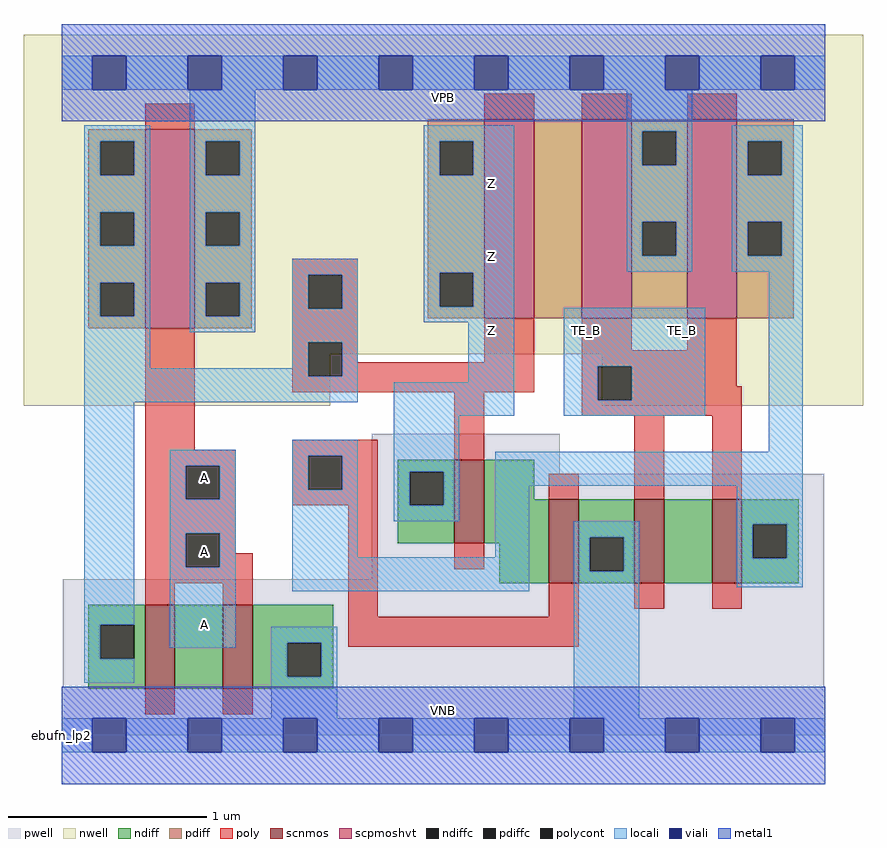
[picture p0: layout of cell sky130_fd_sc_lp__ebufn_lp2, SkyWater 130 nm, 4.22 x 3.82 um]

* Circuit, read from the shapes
.subckt sky130_fd_sc_lp__ebufn_lp2 A TE_B VGND VNB VPB VPWR Z
XM1 n1 A n2 VNB sky130_fd_pr__nfet_01v8 w=0.42 l=0.15
XM2 VGND A n1 VNB sky130_fd_pr__nfet_01v8 w=0.42 l=0.15
XM3 n3 n2 Z VNB sky130_fd_pr__nfet_01v8 w=0.42 l=0.15
XM4 VGND n4 n3 VNB sky130_fd_pr__nfet_01v8 w=0.42 l=0.15
XM5 n5 TE_B VGND VNB sky130_fd_pr__nfet_01v8 w=0.42 l=0.15
XM6 n4 TE_B n5 VNB sky130_fd_pr__nfet_01v8 w=0.42 l=0.15
XM7 VPWR A n2 VPB sky130_fd_pr__pfet_01v8_hvt w=1 l=0.25
XM8 n6 n2 Z VPB sky130_fd_pr__pfet_01v8_hvt w=1 l=0.25
XM9 VPWR TE_B n6 VPB sky130_fd_pr__pfet_01v8_hvt w=1 l=0.25
XM10 n4 TE_B VPWR VPB sky130_fd_pr__pfet_01v8_hvt w=1 l=0.25
.ends

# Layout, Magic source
magic
tech sky130A
magscale 1 2
<< nwell >>
rect -38 383 806 704
rect -38 331 270 383
rect 543 331 806 383
<< pwell >>
rect 312 263 501 303
rect 312 157 767 263
rect 1 49 767 157
rect 0 0 768 49
<< scnmos >>
rect 84 47 114 131
rect 162 47 192 131
rect 395 193 425 277
rect 490 153 520 237
rect 576 153 606 237
rect 654 153 684 237
<< scpmoshvt >>
rect 84 409 134 609
rect 425 419 475 619
rect 523 419 573 619
rect 629 419 679 619
<< ndiff >>
rect 27 111 84 131
rect 27 77 39 111
rect 73 77 84 111
rect 27 47 84 77
rect 114 47 162 131
rect 192 93 273 131
rect 192 59 227 93
rect 261 59 273 93
rect 338 265 395 277
rect 338 231 350 265
rect 384 231 395 265
rect 338 193 395 231
rect 425 237 475 277
rect 425 193 490 237
rect 440 153 490 193
rect 520 199 576 237
rect 520 165 531 199
rect 565 165 576 199
rect 520 153 576 165
rect 606 153 654 237
rect 684 212 741 237
rect 684 178 695 212
rect 729 178 741 212
rect 684 153 741 178
rect 192 47 273 59
<< pdiff >>
rect 27 597 84 609
rect 27 563 39 597
rect 73 563 84 597
rect 27 526 84 563
rect 27 492 39 526
rect 73 492 84 526
rect 27 455 84 492
rect 27 421 39 455
rect 73 421 84 455
rect 27 409 84 421
rect 134 597 191 609
rect 134 563 145 597
rect 179 563 191 597
rect 134 526 191 563
rect 134 492 145 526
rect 179 492 191 526
rect 134 455 191 492
rect 368 597 425 619
rect 368 563 380 597
rect 414 563 425 597
rect 134 421 145 455
rect 179 421 191 455
rect 134 409 191 421
rect 368 465 425 563
rect 368 431 380 465
rect 414 431 425 465
rect 368 419 425 431
rect 475 419 523 619
rect 573 607 629 619
rect 573 573 584 607
rect 618 573 629 607
rect 573 516 629 573
rect 573 482 584 516
rect 618 482 629 516
rect 573 419 629 482
rect 679 597 736 619
rect 679 563 690 597
rect 724 563 736 597
rect 679 516 736 563
rect 679 482 690 516
rect 724 482 736 516
rect 679 419 736 482
<< ndiffc >>
rect 39 77 73 111
rect 227 59 261 93
rect 350 231 384 265
rect 531 165 565 199
rect 695 178 729 212
<< pdiffc >>
rect 39 563 73 597
rect 39 492 73 526
rect 39 421 73 455
rect 145 563 179 597
rect 145 492 179 526
rect 380 563 414 597
rect 145 421 179 455
rect 380 431 414 465
rect 584 573 618 607
rect 584 482 618 516
rect 690 563 724 597
rect 690 482 724 516
<< poly >>
rect 84 609 134 635
rect 425 619 475 645
rect 523 619 573 645
rect 629 619 679 645
rect 232 463 298 479
rect 232 429 248 463
rect 282 429 298 463
rect 84 287 134 409
rect 232 395 298 429
rect 232 361 248 395
rect 282 375 298 395
rect 425 375 475 419
rect 282 361 475 375
rect 232 345 475 361
rect 523 387 573 419
rect 629 387 679 419
rect 523 371 679 387
rect 84 271 175 287
rect 84 237 125 271
rect 159 237 175 271
rect 84 203 175 237
rect 232 281 318 297
rect 232 247 248 281
rect 282 247 318 281
rect 395 277 425 345
rect 523 337 539 371
rect 573 351 679 371
rect 573 337 684 351
rect 523 321 684 337
rect 232 231 318 247
rect 84 169 125 203
rect 159 183 175 203
rect 159 169 192 183
rect 84 153 192 169
rect 84 131 114 153
rect 162 131 192 153
rect 288 119 318 231
rect 490 237 520 263
rect 576 237 606 321
rect 654 237 684 321
rect 395 167 425 193
rect 490 119 520 153
rect 576 127 606 153
rect 654 127 684 153
rect 288 89 520 119
rect 84 21 114 47
rect 162 21 192 47
<< polycont >>
rect 248 429 282 463
rect 248 361 282 395
rect 125 237 159 271
rect 248 247 282 281
rect 539 337 573 371
rect 125 169 159 203
<< locali >>
rect 0 649 31 683
rect 65 649 127 683
rect 161 649 223 683
rect 257 649 319 683
rect 353 649 415 683
rect 449 649 511 683
rect 545 649 607 683
rect 641 649 703 683
rect 737 649 768 683
rect 23 597 89 613
rect 23 563 39 597
rect 73 563 89 597
rect 23 526 89 563
rect 23 492 39 526
rect 73 492 89 526
rect 23 455 89 492
rect 23 421 39 455
rect 73 421 89 455
rect 23 369 89 421
rect 129 597 195 649
rect 129 563 145 597
rect 179 563 195 597
rect 129 526 195 563
rect 129 492 145 526
rect 179 492 195 526
rect 129 455 195 492
rect 364 597 455 613
rect 364 563 380 597
rect 414 563 455 597
rect 129 421 145 455
rect 179 421 195 455
rect 129 405 195 421
rect 232 463 298 479
rect 232 429 248 463
rect 282 429 298 463
rect 232 395 298 429
rect 364 465 455 563
rect 568 607 634 649
rect 568 573 584 607
rect 618 573 634 607
rect 568 516 634 573
rect 568 482 584 516
rect 618 482 634 516
rect 568 466 634 482
rect 674 597 745 613
rect 674 563 690 597
rect 724 563 745 597
rect 674 516 745 563
rect 674 482 690 516
rect 724 482 745 516
rect 674 466 745 482
rect 364 431 380 465
rect 414 431 455 465
rect 364 415 455 431
rect 232 369 248 395
rect 23 361 248 369
rect 282 361 298 395
rect 23 335 298 361
rect 409 355 455 415
rect 23 111 73 335
rect 334 321 455 355
rect 505 371 647 430
rect 505 337 539 371
rect 573 337 647 371
rect 505 321 647 337
rect 23 77 39 111
rect 109 271 175 287
rect 109 237 125 271
rect 159 237 175 271
rect 109 203 175 237
rect 109 169 125 203
rect 159 169 175 203
rect 109 88 175 169
rect 232 281 298 297
rect 232 247 248 281
rect 282 247 298 281
rect 232 179 298 247
rect 334 265 400 321
rect 711 285 745 466
rect 334 231 350 265
rect 384 231 400 265
rect 334 215 400 231
rect 436 251 745 285
rect 436 179 470 251
rect 232 145 470 179
rect 515 199 581 215
rect 515 165 531 199
rect 565 165 581 199
rect 211 93 277 109
rect 23 53 73 77
rect 211 59 227 93
rect 261 59 277 93
rect 211 17 277 59
rect 515 17 581 165
rect 679 212 745 251
rect 679 178 695 212
rect 729 178 745 212
rect 679 149 745 178
rect 0 -17 31 17
rect 65 -17 127 17
rect 161 -17 223 17
rect 257 -17 319 17
rect 353 -17 415 17
rect 449 -17 511 17
rect 545 -17 607 17
rect 641 -17 703 17
rect 737 -17 768 17
<< viali >>
rect 31 649 65 683
rect 127 649 161 683
rect 223 649 257 683
rect 319 649 353 683
rect 415 649 449 683
rect 511 649 545 683
rect 607 649 641 683
rect 703 649 737 683
rect 31 -17 65 17
rect 127 -17 161 17
rect 223 -17 257 17
rect 319 -17 353 17
rect 415 -17 449 17
rect 511 -17 545 17
rect 607 -17 641 17
rect 703 -17 737 17
<< metal1 >>
rect 0 683 768 715
rect 0 649 31 683
rect 65 649 127 683
rect 161 649 223 683
rect 257 649 319 683
rect 353 649 415 683
rect 449 649 511 683
rect 545 649 607 683
rect 641 649 703 683
rect 737 649 768 683
rect 0 617 768 649
rect 0 17 768 49
rect 0 -17 31 17
rect 65 -17 127 17
rect 161 -17 223 17
rect 257 -17 319 17
rect 353 -17 415 17
rect 449 -17 511 17
rect 545 -17 607 17
rect 641 -17 703 17
rect 737 -17 768 17
rect 0 -49 768 -17
<< labels >>
flabel pwell s 0 0 768 49 0 FreeSans 200 0 0 0 VNB
port 4 nsew ground bidirectional
flabel nwell s 0 617 768 666 0 FreeSans 200 0 0 0 VPB
port 5 nsew power bidirectional
rlabel comment s 0 0 0 0 4 ebufn_lp2
flabel metal1 s 0 617 768 666 0 FreeSans 340 0 0 0 VPWR
port 6 nsew power bidirectional
flabel metal1 s 0 0 768 49 0 FreeSans 340 0 0 0 VGND
port 3 nsew ground bidirectional
flabel locali s 511 390 545 424 0 FreeSans 340 0 0 0 TE_B
port 2 nsew signal input
flabel locali s 607 390 641 424 0 FreeSans 340 0 0 0 TE_B
port 2 nsew signal input
flabel locali s 415 390 449 424 0 FreeSans 340 0 0 0 Z
port 7 nsew signal output
flabel locali s 415 464 449 498 0 FreeSans 340 0 0 0 Z
port 7 nsew signal output
flabel locali s 415 538 449 572 0 FreeSans 340 0 0 0 Z
port 7 nsew signal output
flabel locali s 127 94 161 128 0 FreeSans 340 0 0 0 A
port 1 nsew signal input
flabel locali s 127 168 161 202 0 FreeSans 340 0 0 0 A
port 1 nsew signal input
flabel locali s 127 242 161 276 0 FreeSans 340 0 0 0 A
port 1 nsew signal input
<< properties >>
string LEFsite unit
string LEFclass CORE
string FIXED_BBOX 0 0 768 666
string GDS_FILE $PDKPATH/libs.ref/sky130_fd_sc_lp/gds/sky130_fd_sc_lp.gds
string LEFsymmetry X Y R90
string GDS_END 3403648
string GDS_START 3397036
<< end >>
